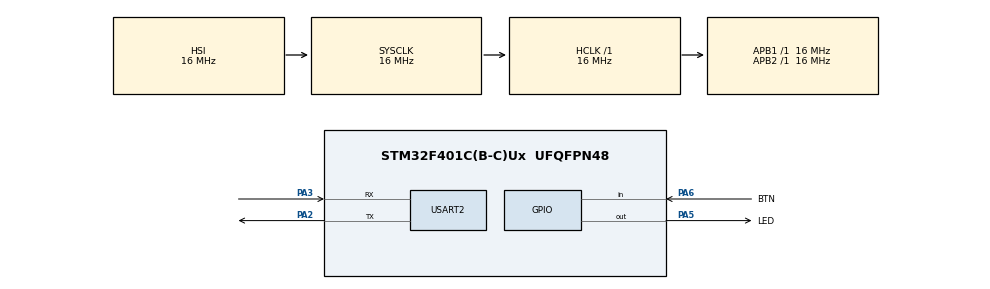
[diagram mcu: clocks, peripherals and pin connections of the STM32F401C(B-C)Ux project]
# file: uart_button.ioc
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Mcu.Family=STM32F4
Mcu.Name=STM32F401C(B-C)Ux
Mcu.Package=UFQFPN48
NVIC.PriorityGroup=NVIC_PRIORITYGROUP_4
NVIC.USART2_IRQn=true\:0\:0\:false\:false\:true\:true\:true\:true
PA13.Mode=Serial_Wire
PA13.Signal=SYS_JTMS-SWDIO
PA14.Mode=Serial_Wire
PA14.Signal=SYS_JTCK-SWCLK
PA2.Mode=Asynchronous
PA2.Signal=USART2_TX
PA3.Mode=Asynchronous
PA3.Signal=USART2_RX
PA5.GPIO_Label=LED
PA5.Signal=GPIO_Output
PA6.GPIO_Label=BTN
PA6.GPIO_PuPd=GPIO_PULLUP
PA6.Signal=GPIO_Input
ProjectManager.HeapSize=0x200
ProjectManager.StackSize=0x400
ProjectManager.TargetToolchain=STM32CubeIDE
RCC.AHBFreq_Value=16000000
RCC.APB1Freq_Value=16000000
RCC.APB2Freq_Value=16000000
RCC.CortexFreq_Value=16000000
RCC.HSE_VALUE=25000000
RCC.HSI_VALUE=16000000
RCC.LSE_VALUE=32768
RCC.SYSCLKFreq_VALUE=16000000
RCC.VCOOutputFreq_Value=192000000
USART2.Parity=PARITY_EVEN
USART2.VirtualMode=VM_ASYNC
USART2.WordLength=WORDLENGTH_9B
board=custom

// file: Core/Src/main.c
/* USER CODE BEGIN Header */
/**
 ******************************************************************************
 * @file           : main.c
 * @brief          : Main program body
 ******************************************************************************
 * @attention
 *
 * Copyright (c) 2026 STMicroelectronics.
 * All rights reserved.
 *
 * This software is licensed under terms that can be found in the LICENSE file
 * in the root directory of this software component.
 * If no LICENSE file comes with this software, it is provided AS-IS.
 *
 ******************************************************************************
 */
/* USER CODE END Header */
#include "main.h"

UART_HandleTypeDef huart2;

/* USER CODE BEGIN PV */
static uint8_t rx_byte;

static volatile uint32_t last_valid_rx = 0;
static volatile uint32_t uart_error_count = 0;
static volatile uint32_t parity_error_count = 0;
/* USER CODE END PV */

void SystemClock_Config(void);
static void MX_GPIO_Init(void);
static void MX_USART2_UART_Init(void);

int main(void) {

	/* MCU Configuration--------------------------------------------------------*/

	/* Reset of all peripherals, Initializes the Flash interface and the Systick. */
	HAL_Init();

	/* Configure the system clock */
	SystemClock_Config();

	/* Initialize all configured peripherals */
	MX_GPIO_Init();
	MX_USART2_UART_Init();
	/* USER CODE BEGIN 2 */
	GPIO_PinState previous_raw = HAL_GPIO_ReadPin(BTN_GPIO_Port, BTN_Pin);
	GPIO_PinState stable_button = GPIO_PIN_SET;  // Released.

	uint32_t changed_at = HAL_GetTick();
	uint32_t last_tx = changed_at;
	last_valid_rx = changed_at;

	// Start receiving one byte through interrupts.
	if (HAL_UART_Receive_IT(&huart2, &rx_byte, 1) != HAL_OK) {
		Error_Handler();
	}

	/* USER CODE END 2 */

	/* Infinite loop */
	while (1) {

		/* USER CODE BEGIN 3 */
		uint32_t now = HAL_GetTick();
		GPIO_PinState raw = HAL_GPIO_ReadPin(BTN_GPIO_Port, BTN_Pin);

		// Restart debounce timing whenever the input changes.
		if (raw != previous_raw) {
			previous_raw = raw;
			changed_at = now;
		}

		// Accept the state after 20 ms without a sampled change.
		if ((uint32_t) (now - changed_at) >= 20U) {
			stable_button = raw;
		}

		// Send the current state every 50 ms.
		if ((uint32_t) (now - last_tx) >= 50U) {
			uint8_t state = (stable_button == GPIO_PIN_RESET) ? '1' : '0';

			if (HAL_UART_Transmit(&huart2, &state, 1, 10) != HAL_OK) {
				Error_Handler();
			}

			last_tx = now;
		}

		// Briefly prevent RX from updating the LED during the timeout check.
		uint32_t irq_state = __get_PRIMASK();
		__disable_irq();

		if ((uint32_t) (HAL_GetTick() - last_valid_rx) >= 250U) {
			HAL_GPIO_WritePin(LED_GPIO_Port, LED_Pin, GPIO_PIN_RESET);
		}

		__set_PRIMASK(irq_state);

		HAL_Delay(1);
	}
	/* USER CODE END 3 */
}

void SystemClock_Config(void) {
	RCC_OscInitTypeDef RCC_OscInitStruct = { 0 };
	RCC_ClkInitTypeDef RCC_ClkInitStruct = { 0 };

	/** Configure the main internal regulator output voltage
	 */
	__HAL_RCC_PWR_CLK_ENABLE();
	__HAL_PWR_VOLTAGESCALING_CONFIG(PWR_REGULATOR_VOLTAGE_SCALE2);

	/** Initializes the RCC Oscillators according to the specified parameters
	 * in the RCC_OscInitTypeDef structure.
	 */
	RCC_OscInitStruct.OscillatorType = RCC_OSCILLATORTYPE_HSI;
	RCC_OscInitStruct.HSIState = RCC_HSI_ON;
	RCC_OscInitStruct.HSICalibrationValue = RCC_HSICALIBRATION_DEFAULT;
	RCC_OscInitStruct.PLL.PLLState = RCC_PLL_NONE;
	if (HAL_RCC_OscConfig(&RCC_OscInitStruct) != HAL_OK) {
		Error_Handler();
	}

	/** Initializes the CPU, AHB and APB buses clocks
	 */
	RCC_ClkInitStruct.ClockType = RCC_CLOCKTYPE_HCLK | RCC_CLOCKTYPE_SYSCLK
			| RCC_CLOCKTYPE_PCLK1 | RCC_CLOCKTYPE_PCLK2;
	RCC_ClkInitStruct.SYSCLKSource = RCC_SYSCLKSOURCE_HSI;
	RCC_ClkInitStruct.AHBCLKDivider = RCC_SYSCLK_DIV1;
	RCC_ClkInitStruct.APB1CLKDivider = RCC_HCLK_DIV1;
	RCC_ClkInitStruct.APB2CLKDivider = RCC_HCLK_DIV1;

	if (HAL_RCC_ClockConfig(&RCC_ClkInitStruct, FLASH_LATENCY_0) != HAL_OK) {
		Error_Handler();
	}
}

static void MX_USART2_UART_Init(void) {

	huart2.Instance = USART2;
	huart2.Init.BaudRate = 115200;
	huart2.Init.WordLength = UART_WORDLENGTH_9B;
	huart2.Init.StopBits = UART_STOPBITS_1;
	huart2.Init.Parity = UART_PARITY_EVEN;
	huart2.Init.Mode = UART_MODE_TX_RX;
	huart2.Init.HwFlowCtl = UART_HWCONTROL_NONE;
	huart2.Init.OverSampling = UART_OVERSAMPLING_16;
	if (HAL_UART_Init(&huart2) != HAL_OK) {
		Error_Handler();
	}

}

static void MX_GPIO_Init(void) {
	GPIO_InitTypeDef GPIO_InitStruct = { 0 };

	/* GPIO Ports Clock Enable */
	__HAL_RCC_GPIOA_CLK_ENABLE();

	/*Configure GPIO pin Output Level */
	HAL_GPIO_WritePin(LED_GPIO_Port, LED_Pin, GPIO_PIN_RESET);

	/*Configure GPIO pin : LED_Pin */
	GPIO_InitStruct.Pin = LED_Pin;
	GPIO_InitStruct.Mode = GPIO_MODE_OUTPUT_PP;
	GPIO_InitStruct.Pull = GPIO_NOPULL;
	GPIO_InitStruct.Speed = GPIO_SPEED_FREQ_LOW;
	HAL_GPIO_Init(LED_GPIO_Port, &GPIO_InitStruct);

	/*Configure GPIO pin : BTN_Pin */
	GPIO_InitStruct.Pin = BTN_Pin;
	GPIO_InitStruct.Mode = GPIO_MODE_INPUT;
	GPIO_InitStruct.Pull = GPIO_PULLUP;
	HAL_GPIO_Init(BTN_GPIO_Port, &GPIO_InitStruct);

}

/* USER CODE BEGIN 4 */
void HAL_UART_RxCpltCallback(UART_HandleTypeDef *huart)
{
    if (huart->Instance != USART2)
    {
        return;
    }

    // HAL can call this callback for a byte with a receive error.
    // Let ErrorCallback discard it and restart reception.
    if (HAL_UART_GetError(huart) != HAL_UART_ERROR_NONE)
    {
        return;
    }

    if (rx_byte == '0' || rx_byte == '1')
    {
        last_valid_rx = HAL_GetTick();

        HAL_GPIO_WritePin(
            LED_GPIO_Port,
            LED_Pin,
            (rx_byte == '1') ? GPIO_PIN_SET : GPIO_PIN_RESET);
    }

    // Each one-byte receive must be explicitly started again.
    if (HAL_UART_Receive_IT(huart, &rx_byte, 1) != HAL_OK)
    {
        Error_Handler();
    }
}

void HAL_UART_ErrorCallback(UART_HandleTypeDef *huart)
{
    if (huart->Instance != USART2)
    {
        return;
    }

    uint32_t errors = HAL_UART_GetError(huart);
    uart_error_count++;

    if ((errors & HAL_UART_ERROR_PE) != 0U)
    {
        parity_error_count++;
    }

    // No DMA is used: abort reception, clear pending receive flags,
    // and listen for the next byte.
    if (HAL_UART_AbortReceive(huart) != HAL_OK)
    {
        Error_Handler();
    }

    __HAL_UART_CLEAR_OREFLAG(huart);

    if (HAL_UART_Receive_IT(huart, &rx_byte, 1) != HAL_OK)
    {
        Error_Handler();
    }
}

/* USER CODE END 4 */

void Error_Handler(void) {
	__disable_irq();
	while (1) {
	}
}
